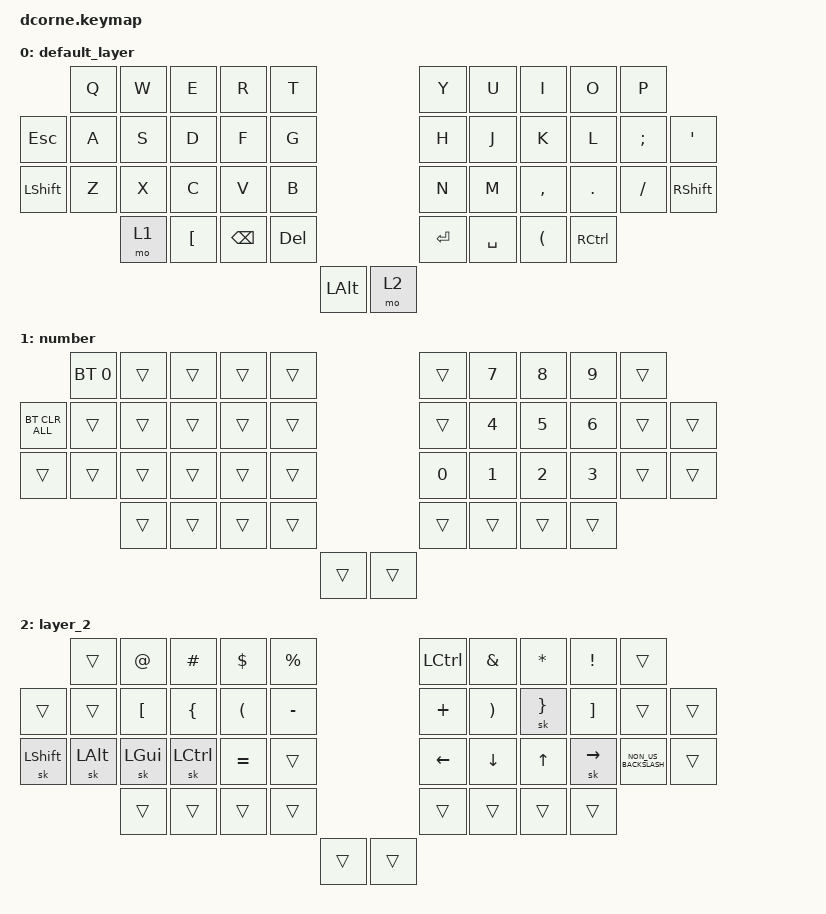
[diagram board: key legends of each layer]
/*
 * Copyright (c) 2022 The ZMK Contributors
 *
 * SPDX-License-Identifier: MIT
 */

#include <behaviors.dtsi>
#include <dt-bindings/zmk/bt.h>
#include <dt-bindings/zmk/keys.h>

/ {
    combos {
        compatible = "zmk,combos";

        tab {
            bindings = <&kp TAB>;
            key-positions = <24 25>;
        };
    };

    keymap {
        compatible = "zmk,keymap";

        default_layer {
            bindings = <
           &kp Q  &kp W  &kp E     &kp R     &kp T                              &kp Y      &kp U      &kp I                 &kp O              &kp P
&kp ESC    &kp A  &kp S  &kp D     &kp F     &kp G                              &kp H      &kp J      &kp K                 &kp L              &kp SEMI  &kp SQT
&kp LSHFT  &kp Z  &kp X  &kp C     &kp V     &kp B                              &kp N      &kp M      &kp COMMA             &kp DOT            &kp FSLH  &kp RSHFT

                  &mo 1  &kp LBKT  &kp BSPC  &kp DELETE                         &kp ENTER  &kp SPACE  &kp LEFT_PARENTHESIS  &kp RIGHT_CONTROL
                                                         &kp LEFT_ALT    &mo 2
            >;
        };

        number {
            bindings = <
                &bt BT_SEL 0  &trans  &trans  &trans  &trans                    &trans  &kp N7  &kp N8  &kp N9  &trans
&bt BT_CLR_ALL  &trans        &trans  &trans  &trans  &trans                    &trans  &kp N4  &kp N5  &kp N6  &trans  &trans
&trans          &trans        &trans  &trans  &trans  &trans                    &kp N0  &kp N1  &kp N2  &kp N3  &trans  &trans

                              &trans  &trans  &trans  &trans                    &trans  &trans  &trans  &trans
                                                              &trans    &trans
            >;
        };

        layer_2 {
            bindings = <
           &trans    &kp AT_SIGN       &kp HASH        &kp DOLLAR            &kp PERCENT                    &kp LCTRL       &kp AMPERSAND          &kp ASTERISK     &kp EXCLAMATION    &trans
&trans     &trans    &kp LEFT_BRACKET  &kp LEFT_BRACE  &kp LEFT_PARENTHESIS  &kp MINUS                      &kp PLUS        &kp RIGHT_PARENTHESIS  &sk RIGHT_BRACE  &kp RIGHT_BRACKET  &trans                &trans
&sk LSHFT  &sk LALT  &sk LGUI          &sk LCTRL       &kp EQUAL             &trans                         &kp LEFT_ARROW  &kp DOWN               &kp UP_ARROW     &sk RIGHT          &kp NON_US_BACKSLASH  &trans

                     &trans            &trans          &trans                &trans                         &trans          &trans                 &trans           &trans
                                                                                          &trans    &trans
            >;
        };
    };
};
